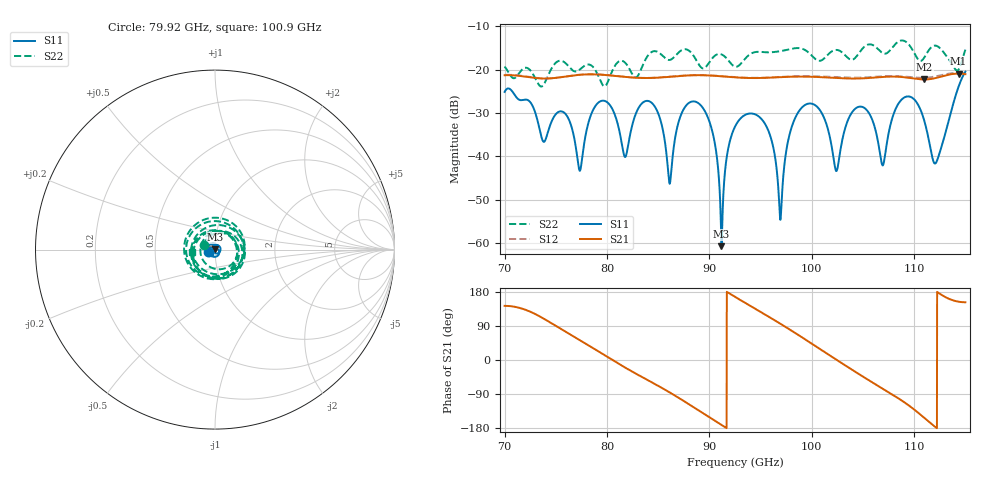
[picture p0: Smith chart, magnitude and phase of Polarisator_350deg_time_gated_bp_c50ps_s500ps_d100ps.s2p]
# Hz S RI R 1.000000
! Metas.Vna.Tools, 2.4.7898.19887
! Metas.Vna.Data, 2.4.7898.19873
! Created: UTC 2021.09.30 14:31:00
! FREQ  re:S1,1  im:S1,1  re:S2,1  im:S2,1  re:S1,2  im:S1,2  re:S2,2  im:S2,2
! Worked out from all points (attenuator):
!   2251 points, 70 GHz to 115 GHz, reference 1 ohm
!   highest |S21| = -20.89 dB at 114.3 GHz (marker M1); lowest = -22.3 dB at 111 GHz (marker M2)
!   lowest |S11| = -60.7 dB at 91.18 GHz (marker M3), VSWR 1.00, Z = 1 + j0.00181 ohm
!   |S11| at or under -10 dB: start of sweep to end of sweep
!   |S22| runs from -23.9 to -13.2 dB; largest |S21 - S12| = 0.021
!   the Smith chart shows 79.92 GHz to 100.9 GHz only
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7e10  0.0429 0.0351  -0.0688 0.0522  -0.0704 0.0514  0.0989 -0.0455
7.586e10  -0.0313 -0.00425  0.0199 0.0807  0.0202 0.0808  0.083 -0.0886
7.75e10  0.00816 -0.000475  0.0566 0.0669  0.0573 0.0667  -0.0267 0.1008
7.928e10  -0.0307 -0.0298  0.0822 0.031  0.0827 0.0307  -0.00853 -0.0779
8.176e10  -0.00978 -0.000805  0.0777 -0.028  0.078 -0.028  0.0713 -0.0976
8.5e10  -0.0123 0.0288  0.03 -0.0752  0.0303 -0.0755  -0.00174 -0.1593
8.612e10  0.00455 -0.00161  0.00643 -0.0826  0.00652 -0.0831  -0.0886 0.0946
8.742e10  -0.0324 -0.00984  -0.0247 -0.0815  -0.0249 -0.082  0.1604 -0.0586
8.942e10  -0.00408 0.0351  -0.0673 -0.054  -0.0678 -0.054  -0.025 0.1005
9.118e10  0.000144 0.000906  -0.083 -0.0125  -0.0835 -0.0122  -0.0398 -0.1448
9.25e10  -0.00624 0.0211  -0.0794 0.0187  -0.0799 0.0191  -0.00731 0.1082
9.542e10  0.0103 -0.0215  -0.0405 0.0696  -0.0411 0.0699  -0.0382 0.1545
9.694e10  -0.00101 0.00155  -0.00794 0.0817  -0.00808 0.0823  0.0418 -0.1586
9.804e10  0.0213 -0.00489  0.0185 0.0809  0.019 0.0817  -0.1613 0.0662
1e11  -0.0111 -0.039  0.0606 0.0566  0.0621 0.057  0.0708 -0.127
1.0238e11  -0.00437 -0.00517  0.0803 0.00153  0.0821 0.00165  0.1681 0.0201
1.0436e11  -0.0214 -0.0293  0.0663 -0.0432  0.0689 -0.0427  -0.0774 0.1193
1.075e11  -0.00639 -0.0173  0.00703 -0.0829  0.0113 -0.0837  -0.0831 0.1379
1.1098e11  -0.0188 0.0178  -0.0685 -0.0355  -0.0675 -0.0442  0.0308 0.1344
1.1212e11  -0.00838 0.000531  -0.0802 -0.00287  -0.0824 -0.0161  0.133 -0.1348
1.1434e11  -0.0522 0.0371  -0.081 0.0399  -0.09 0.0213  0.0787 0.0628
1.15e11  -0.0682 0.0661  -0.0787 0.0412  -0.0887 0.0228  0.112 -0.1286
